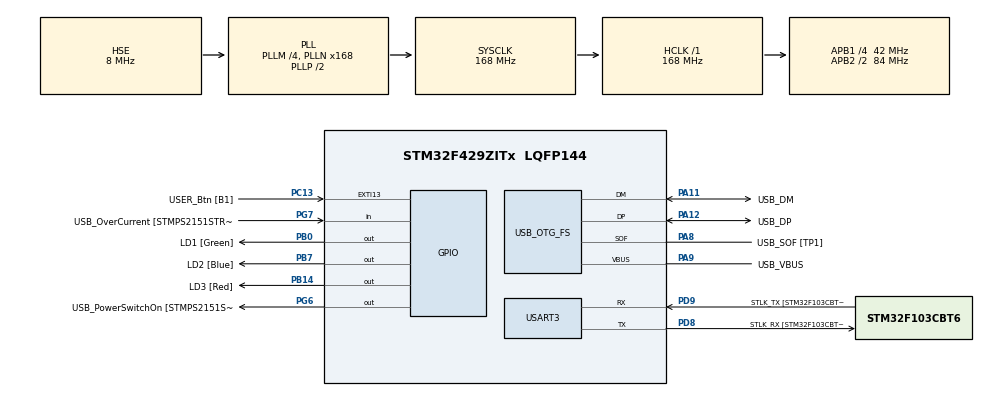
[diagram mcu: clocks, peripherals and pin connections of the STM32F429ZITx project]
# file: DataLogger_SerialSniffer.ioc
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Mcu.Family=STM32F4
Mcu.Name=STM32F429ZITx
Mcu.Package=LQFP144
NVIC.OTG_FS_IRQn=true\:0\:0\:false\:false\:true\:true\:true
NVIC.PriorityGroup=NVIC_PRIORITYGROUP_4
NVIC.USART3_IRQn=true\:0\:0\:false\:false\:true\:true\:true
PA1.GPIO_Label=RMII_REF_CLK [LAN8742A-CZ-TR_REFCLK0]
PA1.Signal=ETH_REF_CLK
PA10.GPIO_Label=USB_ID
PA10.Signal=USB_OTG_FS_ID
PA11.GPIO_Label=USB_DM
PA11.Mode=Device_Only
PA11.Signal=USB_OTG_FS_DM
PA12.GPIO_Label=USB_DP
PA12.Mode=Device_Only
PA12.Signal=USB_OTG_FS_DP
PA13.GPIO_Label=TMS
PA13.Mode=Serial_Wire
PA13.Signal=SYS_JTMS-SWDIO
PA14.GPIO_Label=TCK
PA14.Mode=Serial_Wire
PA14.Signal=SYS_JTCK-SWCLK
PA2.GPIO_Label=RMII_MDIO [LAN8742A-CZ-TR_MDIO]
PA2.Signal=ETH_MDIO
PA7.GPIO_Label=RMII_CRS_DV [LAN8742A-CZ-TR_CRS_DV]
PA7.Signal=ETH_CRS_DV
PA8.GPIO_Label=USB_SOF [TP1]
PA8.Mode=Activate_SOF_FS
PA8.Signal=USB_OTG_FS_SOF
PA9.GPIO_Label=USB_VBUS
PA9.Mode=Activate_VBUS
PA9.Signal=USB_OTG_FS_VBUS
PB0.GPIO_Label=LD1 [Green]
PB0.Signal=GPIO_Output
PB13.GPIO_Label=RMII_TXD1 [LAN8742A-CZ-TR_TXD1]
PB13.Signal=ETH_TXD1
PB14.GPIO_Label=LD3 [Red]
PB14.Signal=GPIO_Output
PB7.GPIO_Label=LD2 [Blue]
PB7.Signal=GPIO_Output
PC1.GPIO_Label=RMII_MDC [LAN8742A-CZ-TR_MDC]
PC1.Signal=ETH_MDC
PC13.GPIO_Label=USER_Btn [B1]
PC13.Signal=GPXTI13
PC14/OSC32_IN.Mode=LSE-External-Oscillator
PC14/OSC32_IN.Signal=RCC_OSC32_IN
PC15/OSC32_OUT.Mode=LSE-External-Oscillator
PC15/OSC32_OUT.Signal=RCC_OSC32_OUT
PC4.GPIO_Label=RMII_RXD0 [LAN8742A-CZ-TR_RXD0]
PC4.Signal=ETH_RXD0
PC5.GPIO_Label=RMII_RXD1 [LAN8742A-CZ-TR_RXD1]
PC5.Signal=ETH_RXD1
PD8.GPIO_Label=STLK_RX [STM32F103CBT6_PA3]
PD8.Mode=Asynchronous
PD8.Signal=USART3_TX
PD9.GPIO_Label=STLK_TX [STM32F103CBT6_PA2]
PD9.Mode=Asynchronous
PD9.Signal=USART3_RX
PG11.GPIO_Label=RMII_TX_EN [LAN8742A-CZ-TR_TXEN]
PG11.Signal=ETH_TX_EN
PG13.GPIO_Label=RMII_TXD0 [LAN8742A-CZ-TR_TXD0]
PG13.Signal=ETH_TXD0
PG6.GPIO_Label=USB_PowerSwitchOn [STMPS2151STR_EN]
PG6.Signal=GPIO_Output
PG7.GPIO_Label=USB_OverCurrent [STMPS2151STR_FAULT]
PG7.Signal=GPIO_Input
PH0/OSC_IN.GPIO_Label=MCO [STM32F103CBT6_PA8]
PH0/OSC_IN.Mode=HSE-External-Clock-Source
PH0/OSC_IN.Signal=RCC_OSC_IN
PH1/OSC_OUT.Mode=HSE-External-Clock-Source
PH1/OSC_OUT.Signal=RCC_OSC_OUT
ProjectManager.HeapSize=0x200
ProjectManager.StackSize=0x400
ProjectManager.TargetToolchain=STM32CubeIDE
RCC.48MHZClocksFreq_Value=48000000
RCC.AHBFreq_Value=168000000
RCC.APB1CLKDivider=RCC_HCLK_DIV4
RCC.APB1Freq_Value=42000000
RCC.APB1TimFreq_Value=84000000
RCC.APB2CLKDivider=RCC_HCLK_DIV2
RCC.APB2Freq_Value=84000000
RCC.APB2TimCLKDivider=2
RCC.APB2TimFreq_Value=168000000
RCC.CortexFreq_Value=168000000
RCC.HCLKFreq_Value=168000000
RCC.HSE_VALUE=8000000
RCC.HSI_VALUE=16000000
RCC.PLLM=4
RCC.PLLMUL=RCC_PLL_MUL9
RCC.PLLN=168
RCC.PLLQ=7
RCC.PRESCALERUSB=RCC_USBCLKSOURCE_PLL_DIV1_5
RCC.SYSCLKFreq_VALUE=168000000
RCC.SYSCLKSource=RCC_SYSCLKSOURCE_PLLCLK
RCC.SYSCLKSourceVirtual=RCC_SYSCLKSOURCE_PLLCLK
RCC.USBFreq_Value=48000000
RCC.VCOOutputFreq_Value=336000000
USART3.VirtualMode=VM_ASYNC
USB_DEVICE.CLASS_NAME_FS=CDC
USB_DEVICE.VirtualMode-CDC_FS=Cdc
USB_DEVICE.VirtualModeFS=Cdc_FS
USB_OTG_FS.VirtualMode=Device_Only
VP_USB_DEVICE_VS_USB_DEVICE_CDC_FS.Mode=CDC_FS
board=NUCLEO-F429ZI

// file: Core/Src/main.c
/* USER CODE BEGIN Header */
/**
  ******************************************************************************
  * @file           : main.c
  * @brief          : Main program body
  ******************************************************************************
  * @attention
  *
  * Copyright (c) 2022 STMicroelectronics.
  * All rights reserved.
  *
  * This software is licensed under terms that can be found in the LICENSE file
  * in the root directory of this software component.
  * If no LICENSE file comes with this software, it is provided AS-IS.
  *
  ******************************************************************************
  */
/* USER CODE END Header */
#include "main.h"
#include "usb_device.h"

/* USER CODE BEGIN Includes */
#include "string.h"
#include "../script/DataLogger.h"
/* USER CODE END Includes */

UART_HandleTypeDef huart3;

/* USER CODE BEGIN PV */
typedef union
{
	uint8_t data[4];
	float f_data;
}float_in_byte_u;

typedef union
{
	uint8_t data[2];
	uint16_t u_data;
}uint16_in_byte_u;

/* USER CODE END PV */

void SystemClock_Config(void);
static void MX_GPIO_Init(void);
static void MX_USART3_UART_Init(void);

/* USER CODE BEGIN 0 */

uint8_t sendStr[11];
DataLogger_Msg_t datalog_msg;
uint8_t array[4];
/* USER CODE END 0 */

int main(void)
{

  /* MCU Configuration--------------------------------------------------------*/

  /* Reset of all peripherals, Initializes the Flash interface and the Systick. */
  HAL_Init();

  /* Configure the system clock */
  SystemClock_Config();

  /* Initialize all configured peripherals */
  MX_GPIO_Init();
  MX_USART3_UART_Init();
  MX_USB_DEVICE_Init();
  /* USER CODE BEGIN 2 */
  DataLogger_Init(&datalog_msg);
  int i = 0;
  /* USER CODE END 2 */

  /* Infinite loop */
  while (1)
  {

    /* USER CODE BEGIN 3 */
	  float_byte_u float_data;
	  float_data.data = 1.0;

	  uint32_byte_u tick;
	  tick.data = HAL_GetTick();
	  DataLogger_AddMessage(&datalog_msg, float_data.array, sizeof(float_data.array));
	  DataLogger_AddMessage(&datalog_msg, tick.array, sizeof(tick.array));
	  DataLogger_CompleteTxMessage(&datalog_msg);
	  HAL_UART_Transmit(&huart3, datalog_msg.pMsg, datalog_msg.size, 1);
	  HAL_Delay(10);
  }
  /* USER CODE END 3 */
}

void SystemClock_Config(void)
{
  RCC_OscInitTypeDef RCC_OscInitStruct = {0};
  RCC_ClkInitTypeDef RCC_ClkInitStruct = {0};

  /** Configure the main internal regulator output voltage
  */
  __HAL_RCC_PWR_CLK_ENABLE();
  __HAL_PWR_VOLTAGESCALING_CONFIG(PWR_REGULATOR_VOLTAGE_SCALE1);
  /** Initializes the RCC Oscillators according to the specified parameters
  * in the RCC_OscInitTypeDef structure.
  */
  RCC_OscInitStruct.OscillatorType = RCC_OSCILLATORTYPE_HSE;
  RCC_OscInitStruct.HSEState = RCC_HSE_BYPASS;
  RCC_OscInitStruct.PLL.PLLState = RCC_PLL_ON;
  RCC_OscInitStruct.PLL.PLLSource = RCC_PLLSOURCE_HSE;
  RCC_OscInitStruct.PLL.PLLM = 4;
  RCC_OscInitStruct.PLL.PLLN = 168;
  RCC_OscInitStruct.PLL.PLLP = RCC_PLLP_DIV2;
  RCC_OscInitStruct.PLL.PLLQ = 7;
  if (HAL_RCC_OscConfig(&RCC_OscInitStruct) != HAL_OK)
  {
    Error_Handler();
  }
  /** Initializes the CPU, AHB and APB buses clocks
  */
  RCC_ClkInitStruct.ClockType = RCC_CLOCKTYPE_HCLK|RCC_CLOCKTYPE_SYSCLK
                              |RCC_CLOCKTYPE_PCLK1|RCC_CLOCKTYPE_PCLK2;
  RCC_ClkInitStruct.SYSCLKSource = RCC_SYSCLKSOURCE_PLLCLK;
  RCC_ClkInitStruct.AHBCLKDivider = RCC_SYSCLK_DIV1;
  RCC_ClkInitStruct.APB1CLKDivider = RCC_HCLK_DIV4;
  RCC_ClkInitStruct.APB2CLKDivider = RCC_HCLK_DIV2;

  if (HAL_RCC_ClockConfig(&RCC_ClkInitStruct, FLASH_LATENCY_5) != HAL_OK)
  {
    Error_Handler();
  }
}

static void MX_USART3_UART_Init(void)
{

  huart3.Instance = USART3;
  huart3.Init.BaudRate = 115200;
  huart3.Init.WordLength = UART_WORDLENGTH_8B;
  huart3.Init.StopBits = UART_STOPBITS_1;
  huart3.Init.Parity = UART_PARITY_NONE;
  huart3.Init.Mode = UART_MODE_TX_RX;
  huart3.Init.HwFlowCtl = UART_HWCONTROL_NONE;
  huart3.Init.OverSampling = UART_OVERSAMPLING_16;
  if (HAL_UART_Init(&huart3) != HAL_OK)
  {
    Error_Handler();
  }

}

static void MX_GPIO_Init(void)
{
  GPIO_InitTypeDef GPIO_InitStruct = {0};

  /* GPIO Ports Clock Enable */
  __HAL_RCC_GPIOC_CLK_ENABLE();
  __HAL_RCC_GPIOH_CLK_ENABLE();
  __HAL_RCC_GPIOA_CLK_ENABLE();
  __HAL_RCC_GPIOB_CLK_ENABLE();
  __HAL_RCC_GPIOD_CLK_ENABLE();
  __HAL_RCC_GPIOG_CLK_ENABLE();

  /*Configure GPIO pin Output Level */
  HAL_GPIO_WritePin(GPIOB, LD1_Pin|LD3_Pin|LD2_Pin, GPIO_PIN_RESET);

  /*Configure GPIO pin Output Level */
  HAL_GPIO_WritePin(USB_PowerSwitchOn_GPIO_Port, USB_PowerSwitchOn_Pin, GPIO_PIN_RESET);

  /*Configure GPIO pin : USER_Btn_Pin */
  GPIO_InitStruct.Pin = USER_Btn_Pin;
  GPIO_InitStruct.Mode = GPIO_MODE_IT_RISING;
  GPIO_InitStruct.Pull = GPIO_NOPULL;
  HAL_GPIO_Init(USER_Btn_GPIO_Port, &GPIO_InitStruct);

  /*Configure GPIO pins : RMII_MDC_Pin RMII_RXD0_Pin RMII_RXD1_Pin */
  GPIO_InitStruct.Pin = RMII_MDC_Pin|RMII_RXD0_Pin|RMII_RXD1_Pin;
  GPIO_InitStruct.Mode = GPIO_MODE_AF_PP;
  GPIO_InitStruct.Pull = GPIO_NOPULL;
  GPIO_InitStruct.Speed = GPIO_SPEED_FREQ_VERY_HIGH;
  GPIO_InitStruct.Alternate = GPIO_AF11_ETH;
  HAL_GPIO_Init(GPIOC, &GPIO_InitStruct);

  /*Configure GPIO pins : RMII_REF_CLK_Pin RMII_MDIO_Pin RMII_CRS_DV_Pin */
  GPIO_InitStruct.Pin = RMII_REF_CLK_Pin|RMII_MDIO_Pin|RMII_CRS_DV_Pin;
  GPIO_InitStruct.Mode = GPIO_MODE_AF_PP;
  GPIO_InitStruct.Pull = GPIO_NOPULL;
  GPIO_InitStruct.Speed = GPIO_SPEED_FREQ_VERY_HIGH;
  GPIO_InitStruct.Alternate = GPIO_AF11_ETH;
  HAL_GPIO_Init(GPIOA, &GPIO_InitStruct);

  /*Configure GPIO pins : LD1_Pin LD3_Pin LD2_Pin */
  GPIO_InitStruct.Pin = LD1_Pin|LD3_Pin|LD2_Pin;
  GPIO_InitStruct.Mode = GPIO_MODE_OUTPUT_PP;
  GPIO_InitStruct.Pull = GPIO_NOPULL;
  GPIO_InitStruct.Speed = GPIO_SPEED_FREQ_LOW;
  HAL_GPIO_Init(GPIOB, &GPIO_InitStruct);

  /*Configure GPIO pin : RMII_TXD1_Pin */
  GPIO_InitStruct.Pin = RMII_TXD1_Pin;
  GPIO_InitStruct.Mode = GPIO_MODE_AF_PP;
  GPIO_InitStruct.Pull = GPIO_NOPULL;
  GPIO_InitStruct.Speed = GPIO_SPEED_FREQ_VERY_HIGH;
  GPIO_InitStruct.Alternate = GPIO_AF11_ETH;
  HAL_GPIO_Init(RMII_TXD1_GPIO_Port, &GPIO_InitStruct);

  /*Configure GPIO pin : USB_PowerSwitchOn_Pin */
  GPIO_InitStruct.Pin = USB_PowerSwitchOn_Pin;
  GPIO_InitStruct.Mode = GPIO_MODE_OUTPUT_PP;
  GPIO_InitStruct.Pull = GPIO_NOPULL;
  GPIO_InitStruct.Speed = GPIO_SPEED_FREQ_LOW;
  HAL_GPIO_Init(USB_PowerSwitchOn_GPIO_Port, &GPIO_InitStruct);

  /*Configure GPIO pin : USB_OverCurrent_Pin */
  GPIO_InitStruct.Pin = USB_OverCurrent_Pin;
  GPIO_InitStruct.Mode = GPIO_MODE_INPUT;
  GPIO_InitStruct.Pull = GPIO_NOPULL;
  HAL_GPIO_Init(USB_OverCurrent_GPIO_Port, &GPIO_InitStruct);

  /*Configure GPIO pins : RMII_TX_EN_Pin RMII_TXD0_Pin */
  GPIO_InitStruct.Pin = RMII_TX_EN_Pin|RMII_TXD0_Pin;
  GPIO_InitStruct.Mode = GPIO_MODE_AF_PP;
  GPIO_InitStruct.Pull = GPIO_NOPULL;
  GPIO_InitStruct.Speed = GPIO_SPEED_FREQ_VERY_HIGH;
  GPIO_InitStruct.Alternate = GPIO_AF11_ETH;
  HAL_GPIO_Init(GPIOG, &GPIO_InitStruct);

}

void Error_Handler(void)
{
  __disable_irq();
  while (1)
  {
  }
}
